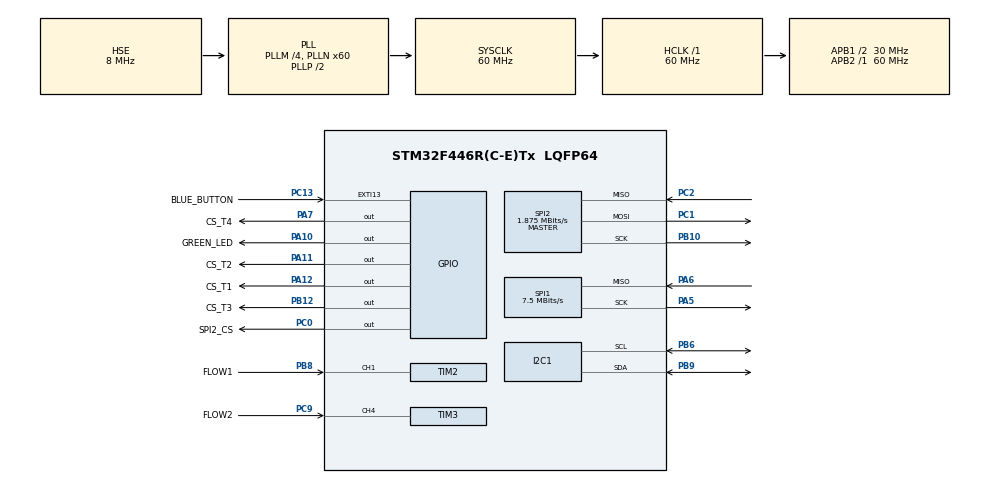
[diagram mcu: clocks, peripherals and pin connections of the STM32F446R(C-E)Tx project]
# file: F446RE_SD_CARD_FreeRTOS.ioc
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FREERTOS.Tasks01=defaultTask,24,128,StartDefaultTask,Default,NULL,Dynamic,NULL,NULL
Mcu.Family=STM32F4
Mcu.Name=STM32F446R(C-E)Tx
Mcu.Package=LQFP64
NVIC.EXTI15_10_IRQn=true\:5\:0\:false\:false\:true\:true\:true\:true\:true
NVIC.PriorityGroup=NVIC_PRIORITYGROUP_4
NVIC.TIM1_UP_TIM10_IRQn=true\:5\:0\:false\:false\:true\:true\:true\:true\:true
NVIC.TIM2_IRQn=true\:5\:0\:false\:false\:true\:true\:true\:true\:true
NVIC.TIM3_IRQn=true\:5\:0\:false\:false\:true\:true\:true\:true\:true
NVIC.TIM6_DAC_IRQn=true\:15\:0\:false\:false\:true\:false\:false\:true\:true
NVIC.TimeBase=TIM6_DAC_IRQn
NVIC.TimeBaseIP=TIM6
PA10.GPIO_Label=GREEN_LED
PA10.Signal=GPIO_Output
PA11.GPIO_Label=CS_T2
PA11.Signal=GPIO_Output
PA12.GPIO_Label=CS_T1
PA12.Signal=GPIO_Output
PA13.GPIO_Label=TMS
PA13.Mode=Serial_Wire
PA13.Signal=SYS_JTMS-SWDIO
PA14.GPIO_Label=TCK
PA14.Mode=Serial_Wire
PA14.Signal=SYS_JTCK-SWCLK
PA5.Mode=RX_Only_Simplex_Unidirect_Master
PA5.Signal=SPI1_SCK
PA6.Mode=RX_Only_Simplex_Unidirect_Master
PA6.Signal=SPI1_MISO
PA7.GPIO_Label=CS_T4
PA7.Signal=GPIO_Output
PB10.Mode=Full_Duplex_Master
PB10.Signal=SPI2_SCK
PB12.GPIO_Label=CS_T3
PB12.Signal=GPIO_Output
PB3.GPIO_Label=SWO
PB3.Signal=SYS_JTDO-SWO
PB6.Mode=I2C
PB6.Signal=I2C1_SCL
PB8.GPIO_Label=FLOW1
PB8.Signal=S_TIM2_CH1_ETR
PB9.Mode=I2C
PB9.Signal=I2C1_SDA
PC0.GPIO_Label=SPI2_CS
PC0.Signal=GPIO_Output
PC1.Mode=Full_Duplex_Master
PC1.Signal=SPI2_MOSI
PC13.GPIO_Label=BLUE_BUTTON
PC13.GPIO_ModeDefaultEXTI=GPIO_MODE_IT_FALLING
PC13.Signal=GPXTI13
PC2.Mode=Full_Duplex_Master
PC2.Signal=SPI2_MISO
PC9.GPIO_Label=FLOW2
PC9.Signal=S_TIM3_CH4
PH0-OSC_IN.Mode=HSE-External-Oscillator
PH0-OSC_IN.Signal=RCC_OSC_IN
PH1-OSC_OUT.Mode=HSE-External-Oscillator
PH1-OSC_OUT.Signal=RCC_OSC_OUT
ProjectManager.HeapSize=0x200
ProjectManager.StackSize=0x400
ProjectManager.TargetToolchain=STM32CubeIDE
RCC.48MHZClocksFreq_Value=84000000
RCC.AHBFreq_Value=60000000
RCC.APB1CLKDivider=RCC_HCLK_DIV2
RCC.APB1Freq_Value=30000000
RCC.APB1TimFreq_Value=60000000
RCC.APB2Freq_Value=60000000
RCC.APB2TimFreq_Value=60000000
RCC.CortexFreq_Value=60000000
RCC.FLatency-AdvancedSettings=FLASH_LATENCY_1
RCC.HCLKFreq_Value=60000000
RCC.HSE_VALUE=8000000
RCC.HSI_VALUE=16000000
RCC.PLLM=4
RCC.PLLN=60
RCC.PLLSourceVirtual=RCC_PLLSOURCE_HSE
RCC.SYSCLKFreq_VALUE=60000000
RCC.SYSCLKSource=RCC_SYSCLKSOURCE_PLLCLK
RCC.USBFreq_Value=60000000
RCC.VCOOutputFreq_Value=120000000
SH.S_TIM2_CH1_ETR.0=TIM2_CH1,Input_Capture1_from_TI1
SH.S_TIM3_CH4.0=TIM3_CH4,Input_Capture4_from_TI4
SPI1.BaudRatePrescaler=SPI_BAUDRATEPRESCALER_8
SPI1.CalculateBaudRate=7.5 MBits/s
SPI1.DataSize=SPI_DATASIZE_16BIT
SPI1.Direction=SPI_DIRECTION_2LINES_RXONLY
SPI1.Mode=SPI_MODE_MASTER
SPI1.VirtualType=VM_MASTER
SPI2.BaudRatePrescaler=SPI_BAUDRATEPRESCALER_16
SPI2.CalculateBaudRate=1.875 MBits/s
SPI2.Direction=SPI_DIRECTION_2LINES
SPI2.Mode=SPI_MODE_MASTER
SPI2.VirtualType=VM_MASTER
TIM1.Period=2000-1
TIM1.Prescaler=60000-1
TIM1.TIM_MasterOutputTrigger=TIM_TRGO_UPDATE
TIM2.Channel-Input_Capture1_from_TI1=TIM_CHANNEL_1
TIM3.Channel-Input_Capture4_from_TI4=TIM_CHANNEL_4
VP_FATFS_VS_Generic.Mode=User_defined
VP_FREERTOS_VS_CMSIS_V2.Mode=CMSIS_V2
VP_SYS_VS_tim6.Mode=TIM6
VP_TIM1_VS_ClockSourceINT.Mode=Internal
VP_TIM2_VS_ClockSourceINT.Mode=Internal
VP_TIM3_VS_ClockSourceINT.Mode=Internal
board=NUCLEO-F446RE

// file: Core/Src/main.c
/* USER CODE BEGIN Header */
/**
  ******************************************************************************
  * @file           : main.c
  * @brief          : Main program body
  ******************************************************************************
  * @attention
  *
  * Copyright (c) 2023 STMicroelectronics.
  * All rights reserved.
  *
  * This software is licensed under terms that can be found in the LICENSE file
  * in the root directory of this software component.
  * If no LICENSE file comes with this software, it is provided AS-IS.
  *
  ******************************************************************************
  */
/* USER CODE END Header */
#include "main.h"
#include "fatfs.h"

/* USER CODE BEGIN Includes */
#include "FreeRTOS.h"
#include "task.h"
#include "semphr.h"

// RTOS
#include "File_Handling_RTOS.h"

// Temperature, humidity and pressure measurement
#include "bme280_add.h"
#include "bme280_defs.h"
#include "bme280.h"

// Time
#include "LB_time.h"

// Standard
#include "stdbool.h"

/* USER CODE END Includes */

/* USER CODE BEGIN PD */
// Flow monitoring
#define FLOW_RATE_COEFFICIENT1 5.5
#define FLOW_RATE_COEFFICIENT2 5.5

// FreeRTOS
#define STACK_SIZE_MEDIUM 512
#define STACK_SIZE_SMALL 128
/* USER CODE END PD */

I2C_HandleTypeDef hi2c1;

SPI_HandleTypeDef hspi1;
SPI_HandleTypeDef hspi2;

TIM_HandleTypeDef htim1;
TIM_HandleTypeDef htim2;
TIM_HandleTypeDef htim3;
/* USER CODE BEGIN PV */
// FreeRTOS
uint32_t IdleCounter = 0;

// Temperature monitoring
float TC_1 = 20.0f;
float TC_2 = 20.0f;
float TC_3 = 20.0f;
float TC_4 = 20.0f;

// Flow monitoring
uint16_t Flow1_pulse_counter = 0;
uint16_t Flow2_pulse_counter = 0;
float Flow_Rate_1;
float Flow_Rate_2;

// Temperature, humidity and pressure measurement
struct bme280_dev bme280_sens_dev;
struct bme280_data bme280_sens_data;

// SD CARD
bool measurement_is_active = false;
Time_t Measurement_Time;
File_counter_t Measurement_Counter =
		{
				0,
				false
		};
const char * file_name = "Meas";
const char * file_extension = ".csv";

/* USER CODE END PV */

void SystemClock_Config(void);
static void MX_GPIO_Init(void);
static void MX_SPI2_Init(void);
static void MX_TIM1_Init(void);
static void MX_I2C1_Init(void);
static void MX_TIM2_Init(void);
static void MX_TIM3_Init(void);
static void MX_SPI1_Init(void);

/* USER CODE BEGIN 0 */
xTaskHandle IDLE_Task_Handler;

xTaskHandle HUMID_Task_Handler;

xSemaphoreHandle HUMID_Sem;

xTaskHandle FLOW1_Task_Handler;
xTaskHandle FLOW2_Task_Handler;

xTaskHandle TEMP1_Task_Handler;
xTaskHandle TEMP2_Task_Handler;
xTaskHandle TEMP3_Task_Handler;
xTaskHandle TEMP4_Task_Handler;

xSemaphoreHandle TEMP_Sem;

xTaskHandle SDCARD_Task_Handler;

void IDLE_Task (void *argument);
void HUMID_Task (void *argument);
void FLOW1_Task (void *argument);
void FLOW2_Task (void *argument);
void TEMP1_Task (void *argument);
void TEMP2_Task (void *argument);
void TEMP3_Task (void *argument);
void TEMP4_Task (void *argument);
void SDCARD_Task (void *argument);

/* USER CODE END 0 */

int main(void)
{

  /* MCU Configuration--------------------------------------------------------*/

  /* Reset of all peripherals, Initializes the Flash interface and the Systick. */
  HAL_Init();

  /* Configure the system clock */
  SystemClock_Config();

  /* Initialize all configured peripherals */
  MX_GPIO_Init();
  MX_SPI2_Init();
  MX_TIM1_Init();
  MX_FATFS_Init();
  MX_I2C1_Init();
  MX_TIM2_Init();
  MX_TIM3_Init();
  MX_SPI1_Init();
  /* USER CODE BEGIN 2 */
  // FreeRTOS
  xTaskCreate(IDLE_Task, "IDLE", STACK_SIZE_SMALL, NULL, 1, &IDLE_Task_Handler);

  xTaskCreate(HUMID_Task, "HUMID", STACK_SIZE_MEDIUM, NULL, 2, &HUMID_Task_Handler);
  HUMID_Sem = xSemaphoreCreateBinary();

  xTaskCreate(FLOW1_Task, "FLOW1", STACK_SIZE_SMALL, NULL, 2, &FLOW1_Task_Handler);
  xTaskCreate(FLOW2_Task, "FLOW2", STACK_SIZE_SMALL, NULL, 2, &FLOW2_Task_Handler);

  xTaskCreate(TEMP1_Task, "TEMP1", STACK_SIZE_MEDIUM, NULL, 2, &TEMP1_Task_Handler);
  xTaskCreate(TEMP2_Task, "TEMP2", STACK_SIZE_MEDIUM, NULL, 2, &TEMP2_Task_Handler);
  xTaskCreate(TEMP3_Task, "TEMP3", STACK_SIZE_MEDIUM, NULL, 2, &TEMP3_Task_Handler);
  xTaskCreate(TEMP4_Task, "TEMP4", STACK_SIZE_MEDIUM, NULL, 2, &TEMP4_Task_Handler);
  TEMP_Sem = xSemaphoreCreateBinary();

  xTaskCreate(SDCARD_Task, "SD", STACK_SIZE_MEDIUM, NULL, 3, &SDCARD_Task_Handler);

  // TIM1
  HAL_TIM_Base_Start_IT(&htim1); // periodic delay timer

  // FreeRTOS
  vTaskStartScheduler();
  /* USER CODE END 2 */

  /* We should never get here as control is now taken by the scheduler */
  /* Infinite loop */
  while (1)
  {

  }
}

void SystemClock_Config(void)
{
  RCC_OscInitTypeDef RCC_OscInitStruct = {0};
  RCC_ClkInitTypeDef RCC_ClkInitStruct = {0};

  /** Configure the main internal regulator output voltage
  */
  __HAL_RCC_PWR_CLK_ENABLE();
  __HAL_PWR_VOLTAGESCALING_CONFIG(PWR_REGULATOR_VOLTAGE_SCALE3);

  /** Initializes the RCC Oscillators according to the specified parameters
  * in the RCC_OscInitTypeDef structure.
  */
  RCC_OscInitStruct.OscillatorType = RCC_OSCILLATORTYPE_HSE;
  RCC_OscInitStruct.HSEState = RCC_HSE_ON;
  RCC_OscInitStruct.PLL.PLLState = RCC_PLL_ON;
  RCC_OscInitStruct.PLL.PLLSource = RCC_PLLSOURCE_HSE;
  RCC_OscInitStruct.PLL.PLLM = 4;
  RCC_OscInitStruct.PLL.PLLN = 60;
  RCC_OscInitStruct.PLL.PLLP = RCC_PLLP_DIV2;
  RCC_OscInitStruct.PLL.PLLQ = 2;
  RCC_OscInitStruct.PLL.PLLR = 2;
  if (HAL_RCC_OscConfig(&RCC_OscInitStruct) != HAL_OK)
  {
    Error_Handler();
  }

  /** Initializes the CPU, AHB and APB buses clocks
  */
  RCC_ClkInitStruct.ClockType = RCC_CLOCKTYPE_HCLK|RCC_CLOCKTYPE_SYSCLK
                              |RCC_CLOCKTYPE_PCLK1|RCC_CLOCKTYPE_PCLK2;
  RCC_ClkInitStruct.SYSCLKSource = RCC_SYSCLKSOURCE_PLLCLK;
  RCC_ClkInitStruct.AHBCLKDivider = RCC_SYSCLK_DIV1;
  RCC_ClkInitStruct.APB1CLKDivider = RCC_HCLK_DIV2;
  RCC_ClkInitStruct.APB2CLKDivider = RCC_HCLK_DIV1;

  if (HAL_RCC_ClockConfig(&RCC_ClkInitStruct, FLASH_LATENCY_1) != HAL_OK)
  {
    Error_Handler();
  }
}

static void MX_I2C1_Init(void)
{

  hi2c1.Instance = I2C1;
  hi2c1.Init.ClockSpeed = 100000;
  hi2c1.Init.DutyCycle = I2C_DUTYCYCLE_2;
  hi2c1.Init.OwnAddress1 = 0;
  hi2c1.Init.AddressingMode = I2C_ADDRESSINGMODE_7BIT;
  hi2c1.Init.DualAddressMode = I2C_DUALADDRESS_DISABLE;
  hi2c1.Init.OwnAddress2 = 0;
  hi2c1.Init.GeneralCallMode = I2C_GENERALCALL_DISABLE;
  hi2c1.Init.NoStretchMode = I2C_NOSTRETCH_DISABLE;
  if (HAL_I2C_Init(&hi2c1) != HAL_OK)
  {
    Error_Handler();
  }

}

static void MX_SPI1_Init(void)
{

  /* SPI1 parameter configuration*/
  hspi1.Instance = SPI1;
  hspi1.Init.Mode = SPI_MODE_MASTER;
  hspi1.Init.Direction = SPI_DIRECTION_2LINES_RXONLY;
  hspi1.Init.DataSize = SPI_DATASIZE_16BIT;
  hspi1.Init.CLKPolarity = SPI_POLARITY_LOW;
  hspi1.Init.CLKPhase = SPI_PHASE_1EDGE;
  hspi1.Init.NSS = SPI_NSS_SOFT;
  hspi1.Init.BaudRatePrescaler = SPI_BAUDRATEPRESCALER_8;
  hspi1.Init.FirstBit = SPI_FIRSTBIT_MSB;
  hspi1.Init.TIMode = SPI_TIMODE_DISABLE;
  hspi1.Init.CRCCalculation = SPI_CRCCALCULATION_DISABLE;
  hspi1.Init.CRCPolynomial = 10;
  if (HAL_SPI_Init(&hspi1) != HAL_OK)
  {
    Error_Handler();
  }

}

static void MX_SPI2_Init(void)
{

  /* SPI2 parameter configuration*/
  hspi2.Instance = SPI2;
  hspi2.Init.Mode = SPI_MODE_MASTER;
  hspi2.Init.Direction = SPI_DIRECTION_2LINES;
  hspi2.Init.DataSize = SPI_DATASIZE_8BIT;
  hspi2.Init.CLKPolarity = SPI_POLARITY_LOW;
  hspi2.Init.CLKPhase = SPI_PHASE_1EDGE;
  hspi2.Init.NSS = SPI_NSS_SOFT;
  hspi2.Init.BaudRatePrescaler = SPI_BAUDRATEPRESCALER_16;
  hspi2.Init.FirstBit = SPI_FIRSTBIT_MSB;
  hspi2.Init.TIMode = SPI_TIMODE_DISABLE;
  hspi2.Init.CRCCalculation = SPI_CRCCALCULATION_DISABLE;
  hspi2.Init.CRCPolynomial = 10;
  if (HAL_SPI_Init(&hspi2) != HAL_OK)
  {
    Error_Handler();
  }

}

static void MX_TIM1_Init(void)
{

  TIM_ClockConfigTypeDef sClockSourceConfig = {0};
  TIM_MasterConfigTypeDef sMasterConfig = {0};

  htim1.Instance = TIM1;
  htim1.Init.Prescaler = 60000-1;
  htim1.Init.CounterMode = TIM_COUNTERMODE_UP;
  htim1.Init.Period = 2000-1;
  htim1.Init.ClockDivision = TIM_CLOCKDIVISION_DIV1;
  htim1.Init.RepetitionCounter = 0;
  htim1.Init.AutoReloadPreload = TIM_AUTORELOAD_PRELOAD_DISABLE;
  if (HAL_TIM_Base_Init(&htim1) != HAL_OK)
  {
    Error_Handler();
  }
  sClockSourceConfig.ClockSource = TIM_CLOCKSOURCE_INTERNAL;
  if (HAL_TIM_ConfigClockSource(&htim1, &sClockSourceConfig) != HAL_OK)
  {
    Error_Handler();
  }
  sMasterConfig.MasterOutputTrigger = TIM_TRGO_UPDATE;
  sMasterConfig.MasterSlaveMode = TIM_MASTERSLAVEMODE_DISABLE;
  if (HAL_TIMEx_MasterConfigSynchronization(&htim1, &sMasterConfig) != HAL_OK)
  {
    Error_Handler();
  }

}

static void MX_TIM2_Init(void)
{

  TIM_ClockConfigTypeDef sClockSourceConfig = {0};
  TIM_MasterConfigTypeDef sMasterConfig = {0};
  TIM_IC_InitTypeDef sConfigIC = {0};

  htim2.Instance = TIM2;
  htim2.Init.Prescaler = 0;
  htim2.Init.CounterMode = TIM_COUNTERMODE_UP;
  htim2.Init.Period = 4294967295;
  htim2.Init.ClockDivision = TIM_CLOCKDIVISION_DIV1;
  htim2.Init.AutoReloadPreload = TIM_AUTORELOAD_PRELOAD_DISABLE;
  if (HAL_TIM_Base_Init(&htim2) != HAL_OK)
  {
    Error_Handler();
  }
  sClockSourceConfig.ClockSource = TIM_CLOCKSOURCE_INTERNAL;
  if (HAL_TIM_ConfigClockSource(&htim2, &sClockSourceConfig) != HAL_OK)
  {
    Error_Handler();
  }
  if (HAL_TIM_IC_Init(&htim2) != HAL_OK)
  {
    Error_Handler();
  }
  sMasterConfig.MasterOutputTrigger = TIM_TRGO_RESET;
  sMasterConfig.MasterSlaveMode = TIM_MASTERSLAVEMODE_DISABLE;
  if (HAL_TIMEx_MasterConfigSynchronization(&htim2, &sMasterConfig) != HAL_OK)
  {
    Error_Handler();
  }
  sConfigIC.ICPolarity = TIM_INPUTCHANNELPOLARITY_RISING;
  sConfigIC.ICSelection = TIM_ICSELECTION_DIRECTTI;
  sConfigIC.ICPrescaler = TIM_ICPSC_DIV1;
  sConfigIC.ICFilter = 0;
  if (HAL_TIM_IC_ConfigChannel(&htim2, &sConfigIC, TIM_CHANNEL_1) != HAL_OK)
  {
    Error_Handler();
  }

}

static void MX_TIM3_Init(void)
{

  TIM_ClockConfigTypeDef sClockSourceConfig = {0};
  TIM_MasterConfigTypeDef sMasterConfig = {0};
  TIM_IC_InitTypeDef sConfigIC = {0};

  htim3.Instance = TIM3;
  htim3.Init.Prescaler = 0;
  htim3.Init.CounterMode = TIM_COUNTERMODE_UP;
  htim3.Init.Period = 65535;
  htim3.Init.ClockDivision = TIM_CLOCKDIVISION_DIV1;
  htim3.Init.AutoReloadPreload = TIM_AUTORELOAD_PRELOAD_DISABLE;
  if (HAL_TIM_Base_Init(&htim3) != HAL_OK)
  {
    Error_Handler();
  }
  sClockSourceConfig.ClockSource = TIM_CLOCKSOURCE_INTERNAL;
  if (HAL_TIM_ConfigClockSource(&htim3, &sClockSourceConfig) != HAL_OK)
  {
    Error_Handler();
  }
  if (HAL_TIM_IC_Init(&htim3) != HAL_OK)
  {
    Error_Handler();
  }
  sMasterConfig.MasterOutputTrigger = TIM_TRGO_RESET;
  sMasterConfig.MasterSlaveMode = TIM_MASTERSLAVEMODE_DISABLE;
  if (HAL_TIMEx_MasterConfigSynchronization(&htim3, &sMasterConfig) != HAL_OK)
  {
    Error_Handler();
  }
  sConfigIC.ICPolarity = TIM_INPUTCHANNELPOLARITY_RISING;
  sConfigIC.ICSelection = TIM_ICSELECTION_DIRECTTI;
  sConfigIC.ICPrescaler = TIM_ICPSC_DIV1;
  sConfigIC.ICFilter = 0;
  if (HAL_TIM_IC_ConfigChannel(&htim3, &sConfigIC, TIM_CHANNEL_4) != HAL_OK)
  {
    Error_Handler();
  }

}

static void MX_GPIO_Init(void)
{
  GPIO_InitTypeDef GPIO_InitStruct = {0};

  /* GPIO Ports Clock Enable */
  __HAL_RCC_GPIOC_CLK_ENABLE();
  __HAL_RCC_GPIOH_CLK_ENABLE();
  __HAL_RCC_GPIOA_CLK_ENABLE();
  __HAL_RCC_GPIOB_CLK_ENABLE();

  /*Configure GPIO pin Output Level */
  HAL_GPIO_WritePin(SPI2_CS_GPIO_Port, SPI2_CS_Pin, GPIO_PIN_RESET);

  /*Configure GPIO pin Output Level */
  HAL_GPIO_WritePin(GPIOA, CS_T4_Pin|GREEN_LED_Pin|CS_T2_Pin|CS_T1_Pin, GPIO_PIN_RESET);

  /*Configure GPIO pin Output Level */
  HAL_GPIO_WritePin(CS_T3_GPIO_Port, CS_T3_Pin, GPIO_PIN_RESET);

  /*Configure GPIO pin : BLUE_BUTTON_Pin */
  GPIO_InitStruct.Pin = BLUE_BUTTON_Pin;
  GPIO_InitStruct.Mode = GPIO_MODE_IT_FALLING;
  GPIO_InitStruct.Pull = GPIO_NOPULL;
  HAL_GPIO_Init(BLUE_BUTTON_GPIO_Port, &GPIO_InitStruct);

  /*Configure GPIO pin : SPI2_CS_Pin */
  GPIO_InitStruct.Pin = SPI2_CS_Pin;
  GPIO_InitStruct.Mode = GPIO_MODE_OUTPUT_PP;
  GPIO_InitStruct.Pull = GPIO_NOPULL;
  GPIO_InitStruct.Speed = GPIO_SPEED_FREQ_LOW;
  HAL_GPIO_Init(SPI2_CS_GPIO_Port, &GPIO_InitStruct);

  /*Configure GPIO pins : CS_T4_Pin GREEN_LED_Pin CS_T2_Pin CS_T1_Pin */
  GPIO_InitStruct.Pin = CS_T4_Pin|GREEN_LED_Pin|CS_T2_Pin|CS_T1_Pin;
  GPIO_InitStruct.Mode = GPIO_MODE_OUTPUT_PP;
  GPIO_InitStruct.Pull = GPIO_NOPULL;
  GPIO_InitStruct.Speed = GPIO_SPEED_FREQ_LOW;
  HAL_GPIO_Init(GPIOA, &GPIO_InitStruct);

  /*Configure GPIO pin : CS_T3_Pin */
  GPIO_InitStruct.Pin = CS_T3_Pin;
  GPIO_InitStruct.Mode = GPIO_MODE_OUTPUT_PP;
  GPIO_InitStruct.Pull = GPIO_NOPULL;
  GPIO_InitStruct.Speed = GPIO_SPEED_FREQ_LOW;
  HAL_GPIO_Init(CS_T3_GPIO_Port, &GPIO_InitStruct);

  /* EXTI interrupt init*/
  HAL_NVIC_SetPriority(EXTI15_10_IRQn, 5, 0);
  HAL_NVIC_EnableIRQ(EXTI15_10_IRQn);

}

/* USER CODE BEGIN 4 */
void IDLE_Task (void *argument)
{
	while(1)
	{
		IdleCounter++;
	}
}

void HUMID_Task (void *argument)
{
	// The initialization of humidity sensor
	BME280_init(&bme280_sens_dev);

	while(1)
	{
		xSemaphoreTake(HUMID_Sem, 2500);
		BME280_read_data(&bme280_sens_dev, &bme280_sens_data);

		vTaskDelay(500UL);
	}
}

void SDCARD_Task (void *argument)
{
	FRESULT f_result;

	// Initializations of time
	LB_Init_Time(&Measurement_Time);

	while(1)
	{
		if (measurement_is_active)
		{
			HAL_GPIO_WritePin(GREEN_LED_GPIO_Port, GREEN_LED_Pin, GPIO_PIN_SET);

			if (FR_OK == (f_result = Mount_SD("/")))
			{
				LB_Times_Ticking(&Measurement_Time);
				char * buffer = pvPortMalloc(MAX_DATA_LEN * sizeof(char));
				sprintf( buffer, "%02u:%02u,%.1f,%.1f,%.1f,%.1f,%.1f,%.1f,%.2f\r\n", Measurement_Time.time[1], Measurement_Time.time[0], TC_1, TC_2, TC_3, TC_4, Flow_Rate_1, Flow_Rate_2, ( (float) bme280_sens_data.humidity / 1024.0f));
				Update_File(file_name, &Measurement_Counter, file_extension, buffer);
				vPortFree(buffer);
				Unmount_SD("/");
			}
		}
		else
		{
			HAL_GPIO_WritePin(GREEN_LED_GPIO_Port, GREEN_LED_Pin, GPIO_PIN_RESET);
			LB_Init_Time(&Measurement_Time);
		}

		vTaskDelay(1000UL);
	}
}

void FLOW1_Task (void *argument)
{
	HAL_TIM_IC_Start_IT(&htim2, TIM_CHANNEL_1);
	while(1)
	{
		Flow_Rate_1 = (float) Flow1_pulse_counter / FLOW_RATE_COEFFICIENT1;
		Flow1_pulse_counter = 0;
		vTaskDelay(1000UL);
	}
}

void FLOW2_Task (void *argument)
{
	HAL_TIM_IC_Start_IT(&htim3, TIM_CHANNEL_4);
	while(1)
	{
		Flow_Rate_2 = (float) Flow2_pulse_counter / FLOW_RATE_COEFFICIENT2;
		Flow2_pulse_counter = 0;
		vTaskDelay(1000UL);
	}
}

void TEMP1_Task (void *argument)
{
	uint8_t temp[2];
	uint16_t Temperature;
	float Celsius;

	while(1)
	{
		xSemaphoreTake(TEMP_Sem, 2500);

		/* SPI */
		HAL_GPIO_WritePin(CS_T1_GPIO_Port, CS_T1_Pin, GPIO_PIN_RESET);
		HAL_Delay(1);
		HAL_SPI_Receive(&hspi1, temp, 2, 10);
		HAL_GPIO_WritePin(CS_T1_GPIO_Port, CS_T1_Pin, GPIO_PIN_SET);

//		OPTION 1
		xSemaphoreGive(TEMP_Sem);

		/* Temperature Conversion */
		Temperature = temp[1];
		Temperature = Temperature << 8;
		Temperature = Temperature + temp[0];
		Temperature = Temperature >> 3;
		Celsius = (float) Temperature * 0.25f;

		/* IIR filter */
		TC_1 = (1.0f - 0.2f) * TC_1 + 0.2f * Celsius;

//		OPTION 2
//		xSemaphoreGive(TEMP_Sem);

//		osDelay(pdMS_TO_TICKS(333UL));
		vTaskDelay(333UL);
	}
}

void TEMP2_Task (void *argument)
{
	uint8_t temp[2];
	uint16_t Temperature;
	float Celsius;

	while(1)
	{
		xSemaphoreTake(TEMP_Sem, 2500);

		/* SPI */
		HAL_GPIO_WritePin(CS_T2_GPIO_Port, CS_T2_Pin, GPIO_PIN_RESET);
		HAL_Delay(1);
		HAL_SPI_Receive(&hspi1, temp, 2, 10);
		HAL_GPIO_WritePin(CS_T2_GPIO_Port, CS_T2_Pin, GPIO_PIN_SET);

//		OPTION 1
		xSemaphoreGive(TEMP_Sem);

		/* Temperature Conversion */
		Temperature = temp[1];
		Temperature = Temperature << 8;
		Temperature = Temperature + temp[0];
		Temperature = Temperature >> 3;
		Celsius = (float) Temperature * 0.25f;

		/* IIR filter */
		TC_2 = (1.0f - 0.2f) * TC_2 + 0.2f * Celsius;

//		OPTION 2
//		xSemaphoreGive(TEMP_Sem);

//		osDelay(pdMS_TO_TICKS(333UL));
		vTaskDelay(333UL);
	}
}

void TEMP3_Task (void *argument)
{
	uint8_t temp[2];
	uint16_t Temperature;
	float Celsius;

	while(1)
	{
		xSemaphoreTake(TEMP_Sem, 2500);

		/* SPI */
		HAL_GPIO_WritePin(CS_T3_GPIO_Port, CS_T3_Pin, GPIO_PIN_RESET);
		HAL_Delay(1);
		HAL_SPI_Receive(&hspi1, temp, 2, 10);
		HAL_GPIO_WritePin(CS_T3_GPIO_Port, CS_T3_Pin, GPIO_PIN_SET);

//		OPTION 1
		xSemaphoreGive(TEMP_Sem);

		/* Temperature Conversion */
		Temperature = temp[1];
		Temperature = Temperature << 8;
		Temperature = Temperature + temp[0];
		Temperature = Temperature >> 3;
		Celsius = (float) Temperature * 0.25f;

		/* IIR filter */
		TC_3 = (1.0f - 0.2f) * TC_3 + 0.2f * Celsius;

//		OPTION 2
//		xSemaphoreGive(TEMP_Sem);

//		osDelay(pdMS_TO_TICKS(333UL));
		vTaskDelay(333UL);
	}
}

void TEMP4_Task (void *argument)
{
	uint8_t temp[2];
	uint16_t Temperature;
	float Celsius;

	while(1)
	{
		xSemaphoreTake(TEMP_Sem, 2500);

		/* SPI */
		HAL_GPIO_WritePin(CS_T4_GPIO_Port, CS_T4_Pin, GPIO_PIN_RESET);
		HAL_Delay(1);
		HAL_SPI_Receive(&hspi1, temp, 2, 10);
		HAL_GPIO_WritePin(CS_T4_GPIO_Port, CS_T4_Pin, GPIO_PIN_SET);

//		OPTION 1
		xSemaphoreGive(TEMP_Sem);

		/* Temperature Conversion */
		Temperature = temp[1];
		Temperature = Temperature << 8;
		Temperature = Temperature + temp[0];
		Temperature = Temperature >> 3;
		Celsius = (float) Temperature * 0.25f;

		/* IIR filter */
		TC_4 = (1.0f - 0.2f) * TC_4 + 0.2f * Celsius;

//		OPTION 2
//		xSemaphoreGive(TEMP_Sem);

//		osDelay(pdMS_TO_TICKS(333UL));
		vTaskDelay(333UL);
	}
}

void HAL_GPIO_EXTI_Callback(uint16_t GPIO_Pin)
{
	if (BLUE_BUTTON_Pin == GPIO_Pin)
	{
		if (false == measurement_is_active)
		{
			measurement_is_active = true;
		}
		else
		{
			measurement_is_active = false;
			Measurement_Counter.isfound = false;
		}
	}
}
/* USER CODE END 4 */

void HAL_TIM_PeriodElapsedCallback(TIM_HandleTypeDef *htim)
{
  /* USER CODE BEGIN Callback 0 */
	if (htim->Instance == TIM1)
	{
		// release the semaphore here
		 /* The xHigherPriorityTaskWoken parameter must be initialized to pdFALSE as
		 it will get set to pdTRUE inside the interrupt safe API function if a
		 context switch is required. */
		BaseType_t xHigherPriorityTaskWoken = pdFALSE;

		xSemaphoreGiveFromISR(HUMID_Sem, &xHigherPriorityTaskWoken);  // ISR SAFE VERSION

		/* Pass the xHigherPriorityTaskWoken value into portEND_SWITCHING_ISR(). If
		 xHigherPriorityTaskWoken was set to pdTRUE inside xSemaphoreGiveFromISR()
		 then calling portEND_SWITCHING_ISR() will request a context switch. If
		 xHigherPriorityTaskWoken is still pdFALSE then calling
		 portEND_SWITCHING_ISR() will have no effect */

		portEND_SWITCHING_ISR( xHigherPriorityTaskWoken );
	}
  /* USER CODE END Callback 0 */
  if (htim->Instance == TIM6) {
    HAL_IncTick();
  }
}

void Error_Handler(void)
{
  __disable_irq();
  while (1)
  {
  }
}
